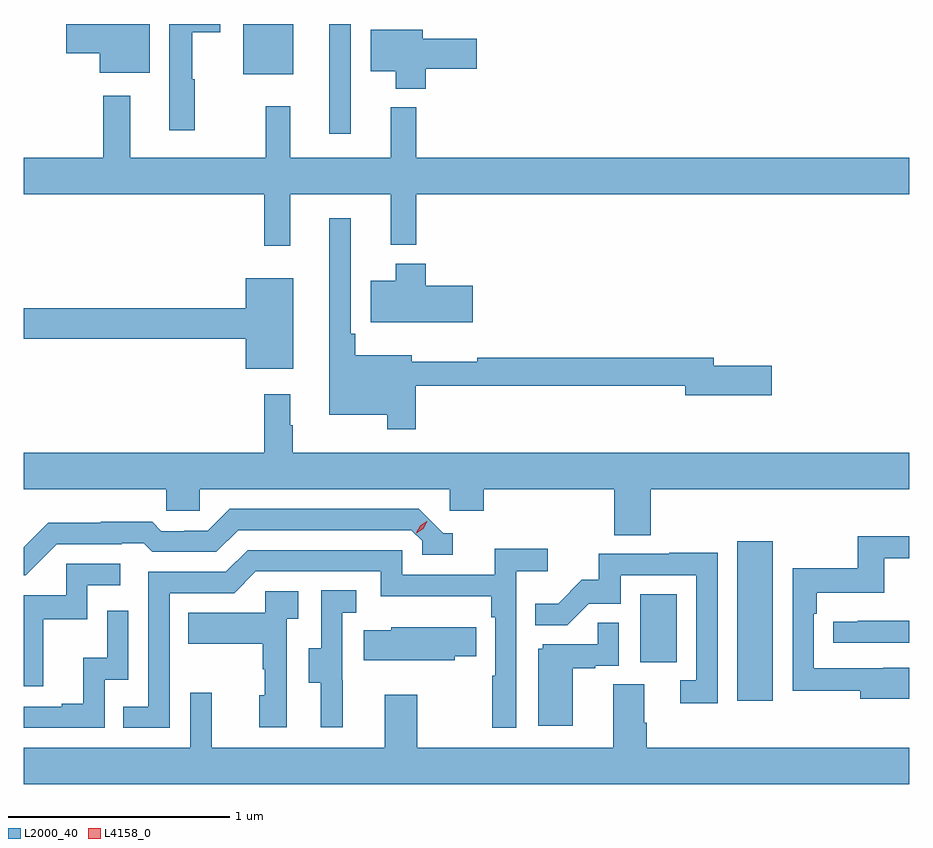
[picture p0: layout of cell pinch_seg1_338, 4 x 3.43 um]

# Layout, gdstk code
import gdstk
lib = gdstk.Library(unit=1e-6, precision=1e-09)
def R(c, l, rs):  # rectangles x0, y0, x1, y1
    for r in rs: c.add(gdstk.rectangle(r[:2], r[2:], *l))
def P(c, l, *ps):  # polygons
    for p in ps: c.add(gdstk.Polygon(p, *l))
L2000_40 = (2000, 40)
L4158_0 = (4158, 0)

pinch_seg1_338 = lib.new_cell('pinch_seg1_338')
R(pinch_seg1_338, L2000_40, [(984.092,542.784,984.253,543.505), (983.654,542.958,983.818,543.265), (982.25,545.346,982.347,545.841), (981.86,545.615,982.087,545.841)])
P(pinch_seg1_338, L2000_40, [(981.641,545.591),(981.631,545.591),(981.631,545.804),(981.757,545.804),(981.757,545.841),(981.527,545.841),(981.527,545.361),(981.641,545.361)],
  [(981.439,545.841),(981.06,545.841),(981.06,545.71),(981.212,545.71),(981.212,545.621),(981.439,545.621)],
  [(982.685,545.638),(982.915,545.638),(982.915,545.775),(982.672,545.775),(982.672,545.815),(982.436,545.815),(982.436,545.627),(982.55,545.627),(982.55,545.549),(982.685,545.549)],
  [(982.073,545.072),(982.526,545.072),(982.526,544.844),(982.643,544.844),(982.643,545.072),(984.869,545.072),(984.869,545.236),(982.643,545.236),(982.643,545.464),(982.526,545.464),(982.526,545.236),(982.073,545.236),(982.073,545.47),(981.963,545.47),(981.963,545.236),(981.349,545.236),(981.349,545.518),(981.228,545.518),(981.228,545.236),(980.869,545.236),(980.869,545.072),(981.955,545.072),(981.955,544.839),(982.073,544.839)],
  [(982.64,544.206),(983.858,544.206),(983.858,544.163),(984.247,544.163),(984.247,544.298),(983.986,544.298),(983.986,544.334),(982.917,544.334),(982.917,544.315),(982.621,544.315),(982.621,544.345),(982.367,544.345),(982.367,544.441),(982.347,544.441),(982.347,544.963),(982.25,544.963),(982.25,544.076),(982.512,544.076),(982.512,544.011),(982.64,544.011)],
  [(982.897,544.659),(982.685,544.659),(982.685,544.759),(982.55,544.759),(982.55,544.681),(982.436,544.681),(982.436,544.493),(982.897,544.493)],
  [(982.087,544.693),(981.872,544.693),(981.872,544.556),(980.869,544.556),(980.869,544.42),(981.872,544.42),(981.872,544.283),(982.087,544.283)],
  [(980.869,543.74),(981.513,543.74),(981.513,543.642),(981.663,543.642),(981.663,543.74),(982.794,543.74),(982.794,543.642),(982.946,543.642),(982.946,543.74),(983.537,543.74),(983.537,543.532),(983.702,543.532),(983.702,543.74),(984.869,543.74),(984.869,543.904),(982.084,543.904),(982.084,544.028),(982.072,544.028),(982.072,544.168),(981.955,544.168),(981.955,543.904),(980.869,543.904)],
  [(981.018,543.492),(981.311,543.492),(981.311,543.495),(981.41,543.495),(981.449,543.456),(981.738,543.456),(981.837,543.555),(982.62,543.555),(982.668,543.507),(982.668,543.444),(982.807,543.444),(982.807,543.54),(982.764,543.54),(982.653,543.651),(981.8,543.651),(981.701,543.552),(981.594,543.552),(981.594,543.549),(981.491,543.549),(981.449,543.592),(981.216,543.592),(981.216,543.589),(980.98,543.589),(980.869,543.478),(980.869,543.351),(980.877,543.351)],
  [(984.869,542.932),(984.751,542.932),(984.751,542.931),(984.438,542.931),(984.438,543.176),(984.452,543.176),(984.452,543.272),(984.757,543.272),(984.757,543.427),(984.869,543.427),(984.869,543.528),(984.636,543.528),(984.636,543.382),(984.342,543.382),(984.342,542.83),(984.647,542.83),(984.647,542.792),(984.869,542.792)],
  [(981.528,543.27),(981.819,543.27),(981.918,543.369),(982.482,543.369),(982.482,543.257),(982.98,543.257),(982.98,543.161),(982.998,543.161),(982.998,542.897),(982.986,542.897),(982.986,542.661),(983.094,542.661),(983.094,543.368),(983.236,543.368),(983.236,543.47),(982.997,543.47),(982.997,543.354),(982.578,543.354),(982.578,543.465),(981.881,543.465),(981.782,543.366),(981.432,543.366),(981.432,542.757),(981.319,542.757),(981.319,542.661),(981.528,542.661)],
  [(984.003,543.452),(983.785,543.452),(983.785,543.447),(983.467,543.447),(983.467,543.33),(983.39,543.33),(983.283,543.223),(983.179,543.223),(983.179,543.124),(983.323,543.124),(983.421,543.222),(983.565,543.222),(983.565,543.351),(983.907,543.351),(983.907,542.877),(983.835,542.877),(983.835,542.772),(984.003,542.772)],
  [(980.957,543.153),(981.156,543.153),(981.156,543.306),(981.304,543.306),(981.304,543.402),(981.06,543.402),(981.06,543.261),(980.869,543.261),(980.869,542.85),(980.957,542.85)],
  [(982.31,542.877),(982.308,542.877),(982.308,543.181),(982.372,543.181),(982.372,543.284),(982.212,543.284),(982.212,543.021),(982.157,543.021),(982.157,542.866),(982.211,542.866),(982.211,542.664),(982.31,542.664)],
  [(982.056,543.155),(982.108,543.155),(982.108,543.279),(981.96,543.279),(981.96,543.181),(981.613,543.181),(981.613,543.041),(981.948,543.041),(981.948,542.927),(981.958,542.927),(981.958,542.808),(981.932,542.808),(981.932,542.664),(982.056,542.664)],
  [(981.234,542.88),(981.342,542.88),(981.342,543.19),(981.246,543.19),(981.246,542.978),(981.137,542.978),(981.137,542.77),(981.041,542.77),(981.041,542.757),(980.869,542.757),(980.869,542.661),(981.234,542.661)],
  [(984.869,543.146),(984.637,543.146),(984.637,543.141),(984.525,543.141),(984.525,543.045),(984.869,543.045)],
  [(983.35,542.931),(983.45,542.931),(983.45,542.943),(983.556,542.943),(983.556,543.137),(983.461,543.137),(983.461,543.039),(983.214,543.039),(983.214,543.018),(983.192,543.018),(983.192,542.67),(983.35,542.67)],
  [(982.815,542.986),(982.913,542.986),(982.913,543.115),(982.53,543.115),(982.53,543.103),(982.405,543.103),(982.405,542.966),(982.815,542.966)],
  [(984.869,542.572),(983.684,542.572),(983.684,542.684),(983.671,542.684),(983.671,542.858),(983.531,542.858),(983.531,542.572),(982.647,542.572),(982.647,542.812),(982.499,542.812),(982.499,542.572),(981.719,542.572),(981.719,542.821),(981.621,542.821),(981.621,542.572),(980.869,542.572),(980.869,542.408),(984.869,542.408)])
P(pinch_seg1_338, L4158_0, [(982.643,543.541),(982.643,543.542),(982.659,543.574),(982.69,543.594),(982.691,543.594),(982.691,543.594),(982.674,543.561),(982.643,543.541)])

lib.write_gds('pinch_seg1_338.gds')
